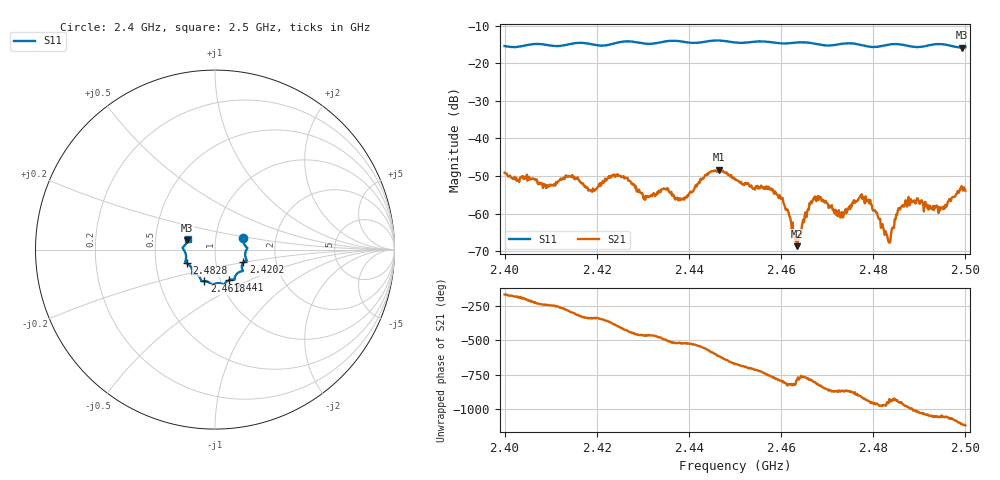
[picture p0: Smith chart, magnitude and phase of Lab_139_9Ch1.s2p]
# Hz S RI R 50
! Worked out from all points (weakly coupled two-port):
!   601 points, 2.4 GHz to 2.5 GHz, reference 50 ohm
!   highest |S21| = -48.30 dB at 2.4465 GHz (marker M1); lowest = -68.7 dB at 2.4635 GHz (marker M2)
!   lowest |S11| = -15.8 dB at 2.4993 GHz (marker M3), VSWR 1.39, Z = 36.5 + j3.87 ohm
!   |S11| at or under -10 dB: start of sweep to end of sweep
!   S12 and S22 are empty: the file has one direction only
!   S11 on the Smith chart (normalised r, x): 2.4 GHz: 1.36, +0.18; 2.4202 GHz: 1.36, -0.20; 2.441 GHz: 1.10, -0.39; 2.4618 GHz: 0.84, -0.30; 2.4828 GHz: 0.72, -0.11; 2.5 GHz: 0.73, +0.09
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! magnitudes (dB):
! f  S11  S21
! 2.4 GHz  -15.4  -49.1
! 2.4167 GHz  -14.5  -51.8
! 2.4202 GHz  -15.2  -53.0
! 2.4247 GHz  -14.4  -49.9
! 2.4305 GHz  -14.8  -56.3
! 2.4333 GHz  -14.5  -54.6
! 2.4382 GHz  -14.1  -55.9
! 2.441 GHz  -14.6  -53.9
! 2.4465 GHz  -13.9  -48.3
! 2.45 GHz  -14.4  -51.0
! 2.4577 GHz  -14.4  -53.6
! 2.4618 GHz  -14.6  -60.8
! 2.4635 GHz  -14.4  -68.7
! 2.4667 GHz  -14.6  -57.2
! 2.4732 GHz  -14.8  -59.6
! 2.4775 GHz  -15.2  -54.8
! 2.4828 GHz  -15.1  -65.3
! 2.4833 GHz  -15.0  -67.6
! 2.4872 GHz  -15.2  -57.0
! 2.4947 GHz  -14.9  -58.5
! 2.4993 GHz  -15.8  -53.5
! 2.5 GHz  -15.7  -53.9
